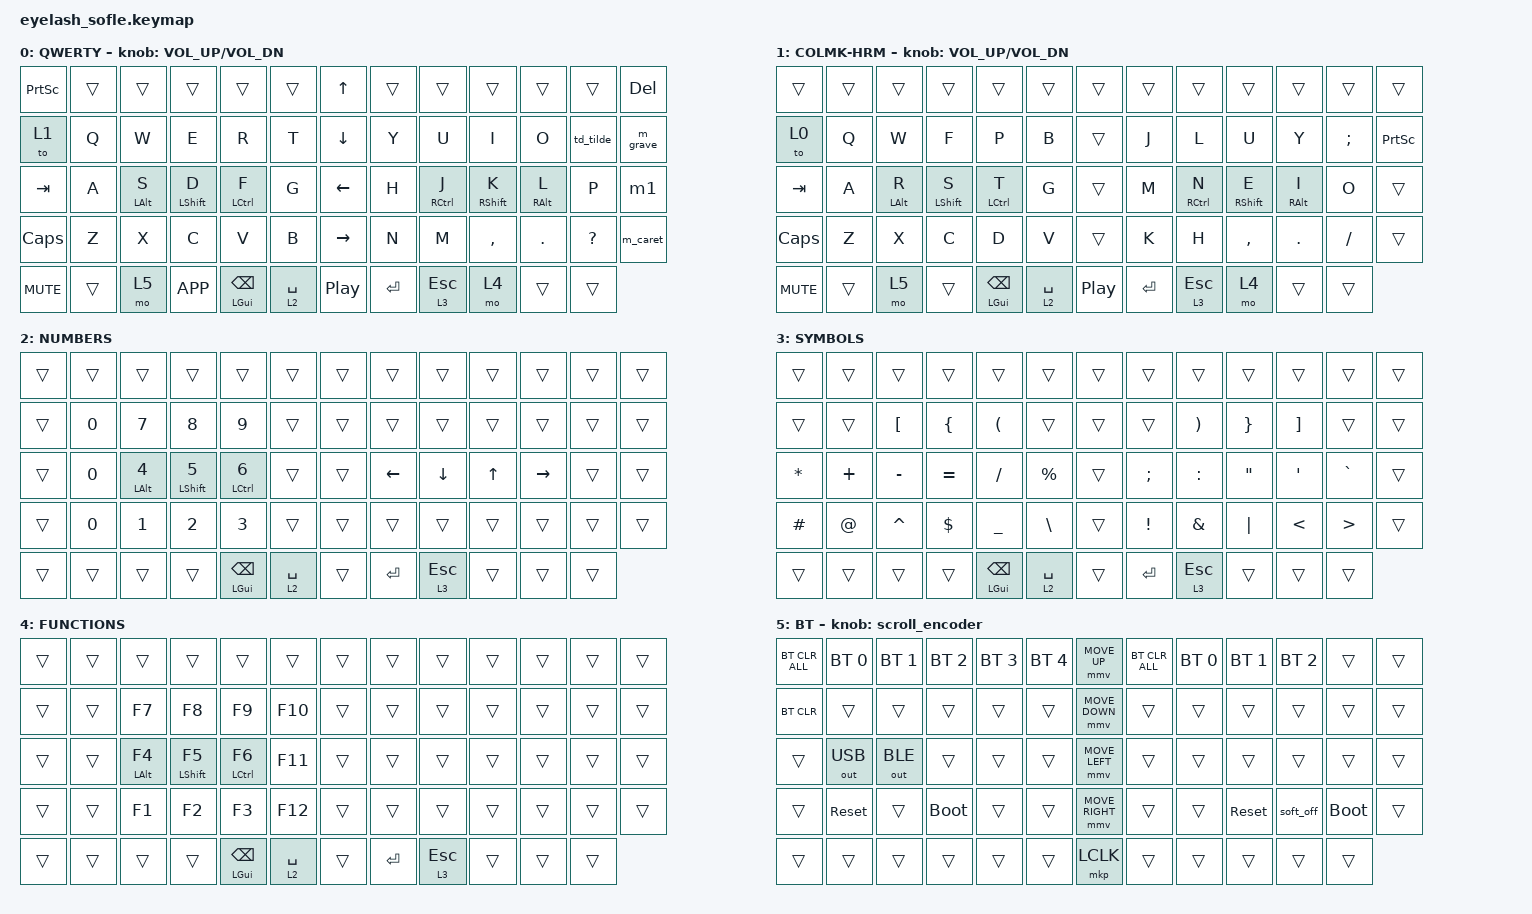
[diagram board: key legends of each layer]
#define ZMK_POINTING_DEFAULT_MOVE_VAL 1200  // 600
#define ZMK_POINTING_DEFAULT_SCRL_VAL 25   // 10

#include <input/processors.dtsi>
#include <zephyr/dt-bindings/input/input-event-codes.h>
#include <behaviors.dtsi>
#include <dt-bindings/zmk/bt.h>
#include <dt-bindings/zmk/keys.h>
#include <dt-bindings/zmk/outputs.h>
#include <dt-bindings/zmk/pointing.h>

&mmv_input_listener { input-processors = <&zip_xy_scaler 2 1>; };

&msc_input_listener { input-processors = <&zip_scroll_scaler 2 1>; };

&mt {
    tapping-term-ms = <150>;
    flavor = "balanced";
    quick-tap-ms = <250>;
};

&msc {
    acceleration-exponent = <1>;      // 0
    time-to-max-speed-ms = <100>;       // 300
    delay-ms = <0>;                   // 0
};

&mmv {
    time-to-max-speed-ms = <500>;
    acceleration-exponent = <1>;
    trigger-period-ms = <16>;
};

&soft_off { hold-time-ms = <1000>; };

/ {
    scroll_encoder: scroll_encoder {
        compatible = "zmk,behavior-sensor-rotate";
        #sensor-binding-cells = <0>;
        bindings = <&msc SCRL_DOWN>, <&msc SCRL_UP>;

        tap-ms = <100>;
    };

    behaviors {
        td_tilde: td_tilde {
            compatible = "zmk,behavior-tap-dance";
            #binding-cells = <0>;
            tapping-term-ms = <250>;
            bindings = <&m0>, <&m_tilde_slash>;
        };

        td_dot: td_dot {
            compatible = "zmk,behavior-tap-dance";
            #binding-cells = <0>;
            tapping-term-ms = <250>;
            bindings = <&kp DOT>, <&m_dot_slash>;
        };
    };

    combos {
        compatible = "zmk,combos";

        softoff {
            bindings = <&soft_off>;
            key-positions = <14 28 40>;
        };
    };

    macros {
        // M0: KC_APPLICATION + LSFT(KC_GRAVE) = K_APP then ~

        m0: m0 {
            compatible = "zmk,behavior-macro";
            #binding-cells = <0>;
            bindings = <&kp K_APP &kp TILDE>;
            label = "M0";
        };

        // M1: KC_APPLICATION + KC_QUOTE = K_APP then '

        m1: m1 {
            compatible = "zmk,behavior-macro";
            #binding-cells = <0>;
            bindings = <&kp K_APP &kp SQT>;
            label = "M1";
        };

        m_grave: m_grave {
            compatible = "zmk,behavior-macro";
            #binding-cells = <0>;
            bindings = <&kp K_APP &kp GRAVE>;
            label = "M_GRAVE";
        };

        m_tilde_slash: m_tilde_slash {
            compatible = "zmk,behavior-macro";
            #binding-cells = <0>;
            bindings = <&kp TILDE &kp FSLH>;
            label = "M_TILDE_SLASH";
        };

        m_dot_slash: m_dot_slash {
            compatible = "zmk,behavior-macro";
            #binding-cells = <0>;
            bindings = <&kp DOT &kp FSLH>;
            label = "M_DOT_SLASH";
        };

        m_caret: m_caret {
            compatible = "zmk,behavior-macro";
            #binding-cells = <0>;
            bindings = <&kp K_APP &kp CARET>;
            label = "M_CARET";
        };
    };

    keymap {
        compatible = "zmk,keymap";

        // Layer 0 — QWERTY + home row mods (Portuguese text)
        // Compose: td_tilde, m_grave, td_dot, m1, m_caret (after ?); ç via Menu+'+c (.XCompose)

        qwerty {
            bindings = <
&kp PRINTSCREEN  &trans  &trans          &trans            &trans         &trans         &kp UP            &trans     &trans       &trans        &trans           &trans     &kp DELETE
&to 1            &kp Q   &kp W           &kp E             &kp R          &kp T          &kp DOWN          &kp Y      &kp U        &kp I         &kp O            &td_tilde  &m_grave
&kp TAB          &kp A   &mt LEFT_ALT S  &mt LEFT_SHIFT D  &mt LCTRL F    &kp G          &kp LEFT          &kp H      &mt RCTRL J  &mt RSHIFT K  &mt RIGHT_ALT L  &kp P      &m1
&kp CAPS         &kp Z   &kp X           &kp C             &kp V          &kp B          &kp RIGHT         &kp N      &kp M        &kp COMMA     &kp DOT          &kp QMARK  &m_caret
&kp C_MUTE       &trans  &mo 5           &kp K_APP         &mt LGUI BSPC  &lt 2 SPACE    &kp C_PLAY_PAUSE  &kp ENTER  &lt 3 ESC    &mo 4         &trans           &trans
            >;

            sensor-bindings = <&inc_dec_kp C_VOL_UP C_VOL_DN>;
            display-name = "QWERTY";
        };

        // Layer 1 — Colemak + home row mods

        colemak_hrm {
            bindings = <
&trans      &trans  &trans          &trans            &trans         &trans         &trans            &trans     &trans       &trans        &trans           &trans    &trans
&to 0       &kp Q   &kp W           &kp F             &kp P          &kp B          &trans            &kp J      &kp L        &kp U         &kp Y            &kp SEMI  &kp PSCRN
&kp TAB     &kp A   &mt LEFT_ALT R  &mt LEFT_SHIFT S  &mt LCTRL T    &kp G          &trans            &kp M      &mt RCTRL N  &mt RSHIFT E  &mt RIGHT_ALT I  &kp O     &trans
&kp CAPS    &kp Z   &kp X           &kp C             &kp D          &kp V          &trans            &kp K      &kp H        &kp COMMA     &kp DOT          &kp FSLH  &trans
&kp C_MUTE  &trans  &mo 5           &trans            &mt LGUI BSPC  &lt 2 SPACE    &kp C_PLAY_PAUSE  &kp ENTER  &lt 3 ESC    &mo 4         &trans           &trans
            >;

            sensor-bindings = <&inc_dec_kp C_VOL_UP C_VOL_DN>;
            display-name = "COLMK-HRM";
        };

        // Layer 2 — Numbers / Navigation
        // Left: numpad 0 col + 7-9 / [LAlt]4-[LCtl]6 / 1-3 | Right: arrow cluster

        numbers {
            bindings = <
&trans  &trans  &trans           &trans             &trans         &trans         &trans  &trans     &trans     &trans  &trans     &trans  &trans
&trans  &kp N0  &kp N7           &kp N8             &kp N9         &trans         &trans  &trans     &trans     &trans  &trans     &trans  &trans
&trans  &kp N0  &mt LEFT_ALT N4  &mt LEFT_SHIFT N5  &mt LCTRL N6   &trans         &trans  &kp LEFT   &kp DOWN   &kp UP  &kp RIGHT  &trans  &trans
&trans  &kp N0  &kp N1           &kp N2             &kp N3         &trans         &trans  &trans     &trans     &trans  &trans     &trans  &trans
&trans  &trans  &trans           &trans             &mt LGUI BSPC  &lt 2 SPACE    &trans  &kp ENTER  &lt 3 ESC  &trans  &trans     &trans
            >;

            display-name = "NUMBERS";
        };

        // Layer 3 — Code / terminal / Neovim (hold Esc on base layers)
        // Row1: { [ (  |  ) ] } * ^
        // Row2: + - = / %  |  : ; " ' `
        // Row3: @ # $ _ \  |  | & < >

        symbols {
            bindings = <
&trans        &trans    &trans            &trans          &trans         &trans         &trans  &trans           &trans                 &trans    &trans             &trans            &trans
&trans        &trans    &kp LEFT_BRACKET  &kp LEFT_BRACE  &kp LPAR       &trans         &trans  &trans           &kp RIGHT_PARENTHESIS  &kp RBRC  &kp RIGHT_BRACKET  &trans            &trans
&kp ASTERISK  &kp PLUS  &kp MINUS         &kp EQUAL       &kp SLASH      &kp PERCENT    &trans  &kp SEMICOLON    &kp COLON              &kp DQT   &kp SQT            &kp GRAVE         &trans
&kp HASH      &kp AT    &kp CARET         &kp DLLR        &kp UNDER      &kp BSLH       &trans  &kp EXCLAMATION  &kp AMPS               &kp PIPE  &kp LESS_THAN      &kp GREATER_THAN  &trans
&trans        &trans    &trans            &trans          &mt LGUI BSPC  &lt 2 SPACE    &trans  &kp ENTER        &lt 3 ESC              &trans    &trans             &trans
            >;

            display-name = "SYMBOLS";
        };

        // Layer 4 — Functions
        // Left only: F7-F10 / [LAlt]F4-[LCtl]F6 F11 / F1-F3 F12

        functions {
            bindings = <
&trans  &trans  &trans           &trans             &trans         &trans         &trans  &trans     &trans     &trans  &trans  &trans  &trans
&trans  &trans  &kp F7           &kp F8             &kp F9         &kp F10        &trans  &trans     &trans     &trans  &trans  &trans  &trans
&trans  &trans  &mt LEFT_ALT F4  &mt LEFT_SHIFT F5  &mt LCTRL F6   &kp F11        &trans  &trans     &trans     &trans  &trans  &trans  &trans
&trans  &trans  &kp F1           &kp F2             &kp F3         &kp F12        &trans  &trans     &trans     &trans  &trans  &trans  &trans
&trans  &trans  &trans           &trans             &mt LGUI BSPC  &lt 2 SPACE    &trans  &kp ENTER  &lt 3 ESC  &trans  &trans  &trans
            >;

            display-name = "FUNCTIONS";
        };

        // Layer 5 — Bluetooth / ZMK utility (hold MO5 on left thumb in layers 0 & 1)

        bluetooth {
            bindings = <
&bt BT_CLR_ALL  &bt BT_SEL 0  &bt BT_SEL 1  &bt BT_SEL 2  &bt BT_SEL 3  &bt BT_SEL 4    &mmv MOVE_UP     &bt BT_CLR_ALL  &bt BT_SEL 0  &bt BT_SEL 1  &bt BT_SEL 2  &trans       &trans
&bt BT_CLR      &trans        &trans        &trans        &trans        &trans          &mmv MOVE_DOWN   &trans          &trans        &trans        &trans        &trans       &trans
&trans          &out OUT_USB  &out OUT_BLE  &trans        &trans        &trans          &mmv MOVE_LEFT   &trans          &trans        &trans        &trans        &trans       &trans
&trans          &sys_reset    &trans        &bootloader   &trans        &trans          &mmv MOVE_RIGHT  &trans          &trans        &sys_reset    &soft_off     &bootloader  &trans
&trans          &trans        &trans        &trans        &trans        &trans          &mkp LCLK        &trans          &trans        &trans        &trans        &trans
            >;

            display-name = "BT";
            sensor-bindings = <&scroll_encoder>;
        };
    };
};
